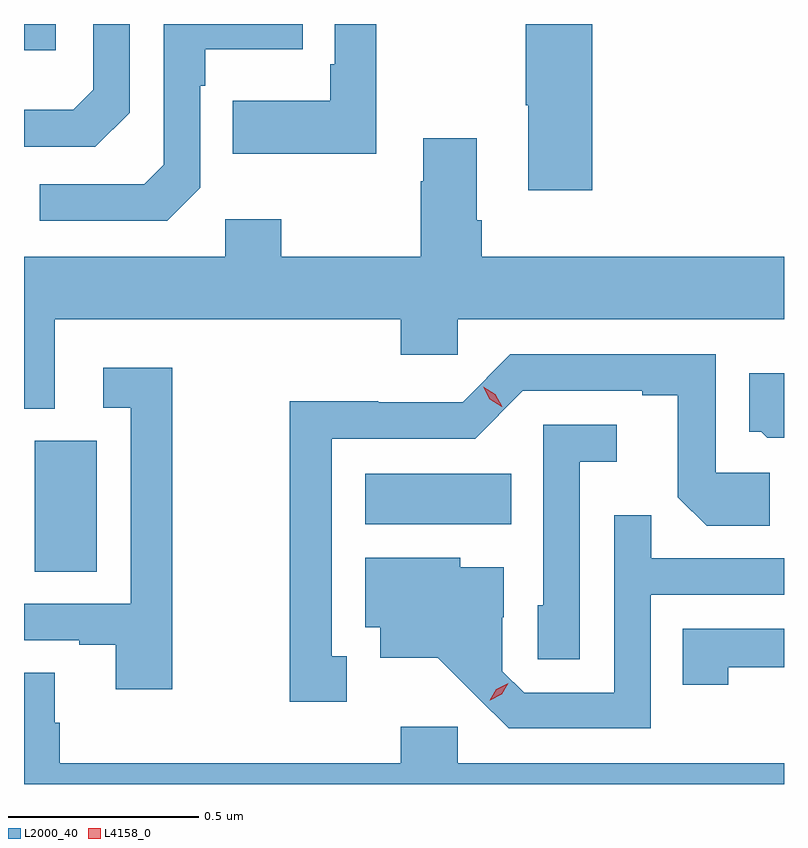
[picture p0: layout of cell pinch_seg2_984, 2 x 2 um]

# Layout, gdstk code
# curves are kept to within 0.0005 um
import gdstk
lib = gdstk.Library(unit=1e-6, precision=1e-09)
def R(c, l, rs):  # rectangles x0, y0, x1, y1
    for r in rs: c.add(gdstk.rectangle(r[:2], r[2:], *l))
def P(c, l, *ps):  # polygons
    for p in ps: c.add(gdstk.Polygon(p, *l))
L2000_40 = (2000, 40)
L4158_0 = (4158, 0)

pinch_seg2_984 = lib.new_cell('pinch_seg2_984')
R(pinch_seg2_984, L2000_40, [(318.098,664.288,318.262,664.632), (318.968,664.412,319.352,664.546), (318.07,665.66,318.154,665.729)])
P(pinch_seg2_984, L2000_40, [(319.565,665.729),(319.39,665.729),(319.39,665.515),(319.397,665.515),(319.397,665.292),(319.565,665.292)],
  [(318.997,665.729),(318.888,665.729),(318.888,665.623),(318.876,665.623),(318.876,665.527),(318.619,665.527),(318.619,665.387),(318.997,665.387)],
  [(318.348,665.496),(318.348,665.729),(318.252,665.729),(318.252,665.556),(318.199,665.503),(318.07,665.503),(318.07,665.406),(318.258,665.406)],
  [(318.534,665.298),(318.534,665.567),(318.547,665.567),(318.547,665.663),(318.803,665.663),(318.803,665.729),(318.438,665.729),(318.438,665.358),(318.387,665.307),(318.111,665.307),(318.111,665.211),(318.447,665.211)],
  [(318.151,664.952),(319.061,664.952),(319.061,664.859),(319.212,664.859),(319.212,664.952),(320.07,664.952),(320.07,665.116),(319.274,665.116),(319.274,665.212),(319.261,665.212),(319.261,665.428),(319.121,665.428),(319.121,665.315),(319.114,665.315),(319.114,665.116),(318.747,665.116),(318.747,665.215),(318.6,665.215),(318.6,665.116),(318.07,665.116),(318.07,664.717),(318.151,664.717)],
  [(318.919,664.065),(318.88,664.065),(318.88,664.638),(319.257,664.638),(319.383,664.764),(319.697,664.764),(319.697,664.752),(319.791,664.752),(319.791,664.484),(319.867,664.408),(320.032,664.408),(320.032,664.548),(319.89,664.548),(319.89,664.86),(319.35,664.86),(319.224,664.734),(319.002,664.734),(319.002,664.736),(318.769,664.736),(318.769,663.945),(318.919,663.945)],
  [(318.46,664.825),(318.279,664.825),(318.279,664.719),(318.351,664.719),(318.351,664.203),(318.07,664.203),(318.07,664.107),(318.215,664.107),(318.215,664.095),(318.311,664.095),(318.311,663.978),(318.46,663.978)],
  [(320.07,664.81),(319.979,664.81),(319.979,664.656),(320.01,664.656),(320.026,664.64),(320.07,664.64)],
  [(319.533,664.577),(319.63,664.577),(319.63,664.674),(319.437,664.674),(319.437,664.2),(319.422,664.2),(319.422,664.057),(319.533,664.057)],
  [(319.719,664.227),(320.07,664.227),(320.07,664.323),(319.721,664.323),(319.721,664.436),(319.623,664.436),(319.623,663.969),(319.386,663.969),(319.329,664.026),(319.329,664.168),(319.333,664.168),(319.333,664.3),(319.218,664.3),(319.218,664.324),(318.968,664.324),(318.968,664.142),(319.007,664.142),(319.007,664.061),(319.159,664.061),(319.346,663.876),(319.719,663.876)],
  [(319.923,664.036),(320.07,664.036),(320.07,664.137),(319.804,664.137),(319.804,663.99),(319.923,663.99)],
  [(320.07,663.784),(319.212,663.784),(319.212,663.88),(319.061,663.88),(319.061,663.784),(318.164,663.784),(318.164,663.89),(318.151,663.89),(318.151,664.022),(318.07,664.022),(318.07,663.729),(320.07,663.729)])
P(pinch_seg2_984, L4158_0, [(319.296,663.949),(319.296,663.95),(319.313,663.979),(319.344,663.994),(319.344,663.994),(319.344,663.994),(319.327,663.965),(319.297,663.949)],
  [(319.327,664.722),(319.296,664.741),(319.279,664.774),(319.279,664.774),(319.279,664.774),(319.31,664.755),(319.328,664.722),(319.328,664.722)])

lib.write_gds('pinch_seg2_984.gds')
